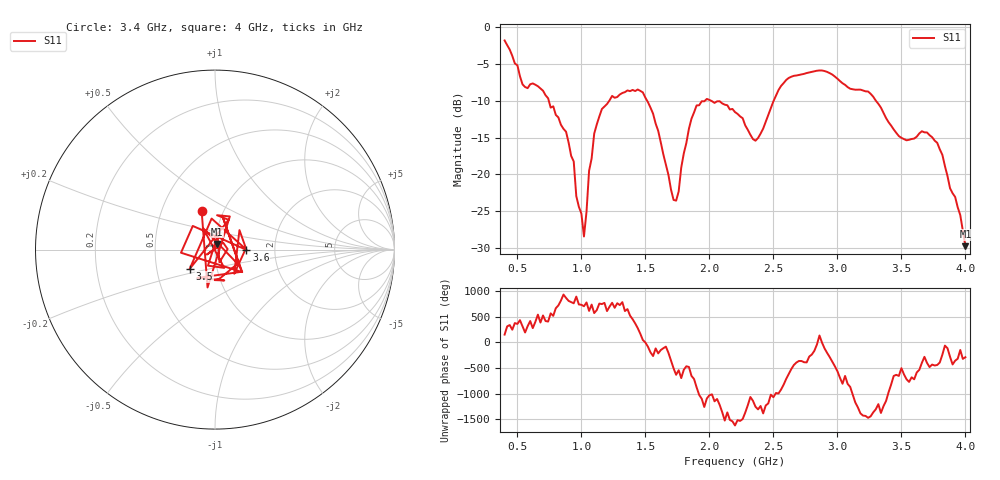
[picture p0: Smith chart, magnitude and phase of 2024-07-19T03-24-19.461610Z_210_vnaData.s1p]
!Created with skrf (http://scikit-rf.org).
# Hz S RI R 50.0
!freq ReS11 ImS11
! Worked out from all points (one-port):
!   181 points, 400 MHz to 4 GHz, reference 50 ohm
!   lowest |S11| = -29.8 dB at 4 GHz (marker M1), VSWR 1.07, Z = 51 + j3.14 ohm
!   |S11| at or under -10 dB: 745.7 MHz to 1.217 GHz (470.8 MHz wide, 48 % of centre); 2.017 GHz to 2.501 GHz (484.7 MHz wide, 21.5 % of centre); 3.302 GHz to end of sweep (the widest 3 of 4)
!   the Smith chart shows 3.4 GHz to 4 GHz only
!   S11 on the Smith chart (normalised r, x): 3.4 GHz: 0.79, +0.36; 3.5 GHz: 0.74, -0.16; 3.6 GHz: 1.43, -0.01; 4 GHz: 1.02, +0.06
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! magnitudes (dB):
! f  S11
! 400 MHz  -1.8
! 540 MHz  -7.7
! 700 MHz  -8.6
! 860 MHz  -13.8
! 940 MHz  -18.2
! 960 MHz  -22.9
! 1.02 GHz  -28.4
! 1.06 GHz  -19.5
! 1.1 GHz  -14.4
! 1.16 GHz  -11.1
! 1.3 GHz  -9.1
! 1.48 GHz  -8.8
! 1.6 GHz  -14.1
! 1.72 GHz  -23.5
! 1.76 GHz  -22.3
! 1.84 GHz  -13.8
! 1.9 GHz  -10.6
! 2.2 GHz  -11.5
! 2.36 GHz  -15.4
! 2.66 GHz  -6.6
! 3.1 GHz  -8.3
! 3.24 GHz  -8.7
! 3.4 GHz  -12.9
! 3.5 GHz  -15.0
! 3.56 GHz  -15.3
! 3.6 GHz  -15.1
! 3.78 GHz  -15.7
! 4 GHz  -29.8
